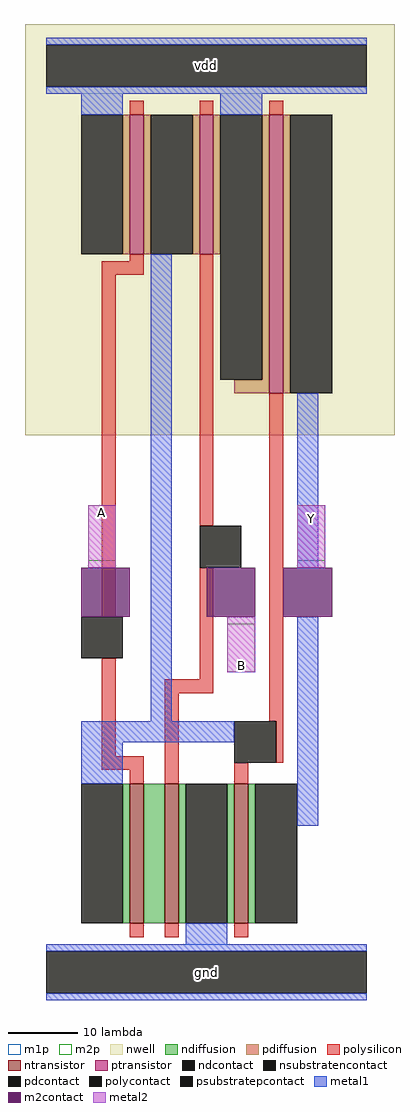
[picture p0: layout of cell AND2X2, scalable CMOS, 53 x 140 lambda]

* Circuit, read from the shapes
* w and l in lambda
.subckt AND2X2 A B Y vdd gnd
M1 n1 A n2 gnd nfet w=20 l=2
M2 gnd B n1 gnd nfet w=20 l=2
M3 Y n2 gnd gnd nfet w=20 l=2
M4 n2 A vdd vdd pfet w=20 l=2
M5 vdd B n2 vdd pfet w=20 l=2
M6 Y n2 vdd vdd pfet w=40 l=2
.ends

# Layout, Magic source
magic
tech scmos
<< nwell >>
rect -6 77 47 136
<< ntransistor >>
rect 9 7 11 27
rect 14 7 16 27
rect 24 7 26 27
<< ptransistor >>
rect 9 103 11 123
rect 19 103 21 123
rect 29 83 31 123
<< ndiffusion >>
rect 8 7 9 27
rect 11 7 14 27
rect 16 7 17 27
rect 23 7 24 27
rect 26 7 27 27
<< pdiffusion >>
rect 8 103 9 123
rect 11 103 12 123
rect 18 103 19 123
rect 21 103 22 123
rect 28 85 29 123
rect 24 83 29 85
rect 31 83 32 123
<< ndcontact >>
rect 2 7 8 27
rect 17 7 23 27
rect 27 7 33 27
<< pdcontact >>
rect 2 103 8 123
rect 12 103 18 123
rect 22 85 28 123
rect 32 83 38 123
<< psubstratepcontact >>
rect -3 -3 43 3
<< nsubstratencontact >>
rect -3 127 43 133
<< polysilicon >>
rect 9 123 11 125
rect 19 123 21 125
rect 29 123 31 125
rect 9 102 11 103
rect 5 100 11 102
rect 5 51 7 100
rect 19 64 21 103
rect 5 31 7 45
rect 19 42 21 58
rect 14 40 21 42
rect 5 29 11 31
rect 9 27 11 29
rect 14 27 16 40
rect 29 36 31 83
rect 30 30 31 36
rect 24 27 26 30
rect 9 5 11 7
rect 14 5 16 7
rect 24 5 26 7
<< polycontact >>
rect 19 58 25 64
rect 2 45 8 51
rect 24 30 30 36
<< metal1 >>
rect -3 133 43 134
rect -3 126 43 127
rect 2 123 8 126
rect 22 123 28 126
rect 12 36 15 103
rect 33 58 36 83
rect 2 33 24 36
rect 2 27 8 33
rect 33 21 36 51
rect 17 4 23 7
rect -3 3 43 4
rect -3 -4 43 -3
<< m2contact >>
rect 2 51 9 58
rect 20 51 27 58
rect 31 51 38 58
<< metal2 >>
rect 3 58 7 67
rect 33 58 37 67
rect 23 43 27 51
<< m1p >>
rect -3 126 43 134
rect -3 -4 43 4
<< m2p >>
rect 3 59 7 67
rect 33 59 37 67
rect 23 43 27 50
<< labels >>
rlabel metal2 5 66 5 66 1 A
port 1 n signal input
rlabel metal2 25 44 25 44 1 B
port 2 n signal input
rlabel metal2 35 65 35 65 5 Y
port 3 n signal output
rlabel metal1 -3 126 43 134 0 vdd
port 4 nsew power bidirectional abutment
rlabel metal1 -3 -4 43 4 0 gnd
port 5 nsew ground bidirectional abutment
<< properties >>
string FIXED_BBOX 0 0 40 130
string LEFclass CORE
string LEFsite core
string LEFsymmetry X Y
<< end >>
